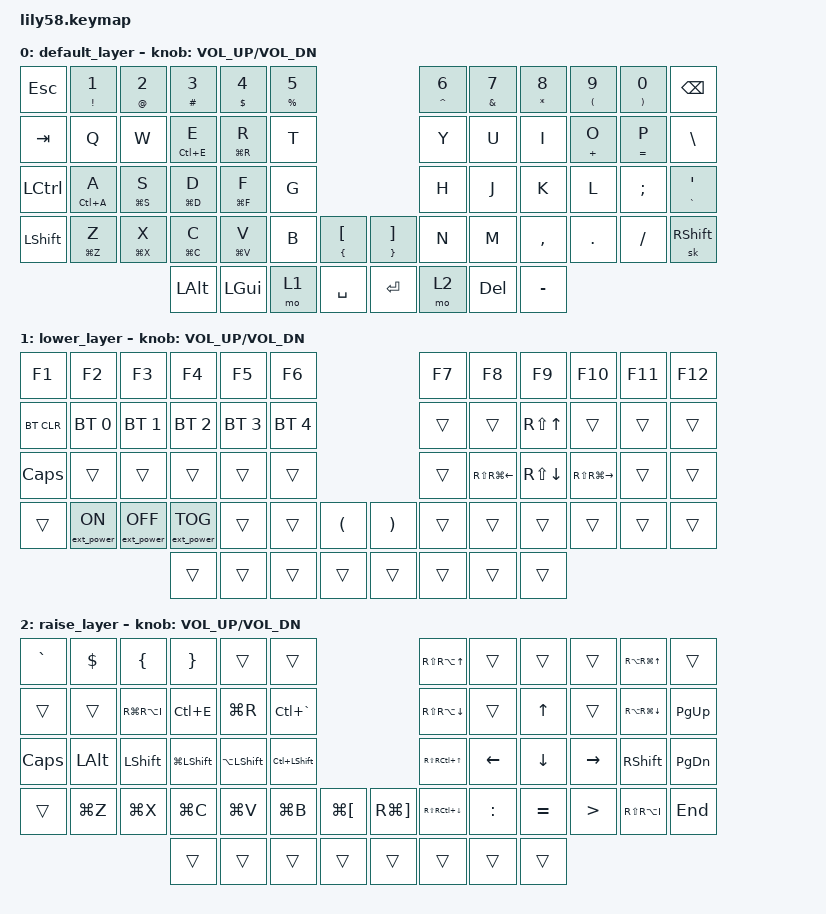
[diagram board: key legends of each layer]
/*
 * Copyright (c) 2020 The ZMK Contributors
 *
 * SPDX-License-Identifier: MIT
 */

#include <behaviors.dtsi>
#include <dt-bindings/zmk/keys.h>
#include <dt-bindings/zmk/bt.h>
#include <dt-bindings/zmk/ext_power.h>

#define DEFAULT 0
#define LOWER 1
#define RAISE 2

// custom config for mod-taps
&mt {
    tapping-term-ms = <300>;
		flavor = "tap-preferred";
};

/ {
	keymap {
		compatible = "zmk,keymap";

		default_layer {
// ---------------------------------------------------------------------------------------------------------------------------------
// |   ESC |   ! 1    |   @ 2    |   # 3    |   $ 4    |  % 5  |                   | ^ 6   | & 7   | * 8   |  ( 9 |  ) 0  |  BSPC  |
// |   TAB |     Q    |    W     |  CTRL+E E|  CMD+R R |  T    |                   |  Y    |  U    |  I    |  + O |  = P  |   \    |
// |  CTRL | CTRL+A A |  CMD+S S |  CMD+D D |  CMD+F F |  G    |                   |  H    |  J    |  K    |   L  |   ;   |  ` '   |
// | SHIFT | CMD+Z Z  |  CMD+X X |  CMD+C C |  CMD+V V |  B    |   { [  |  |  ] }  |  N    |  M    |  ,    |   .  |   /   | SKSHFT |
//                               |   ALT    |  CMD     | LOWER |  SPACE |  | ENTER | RAISE |  DEL  |  -    |

			bindings = <
&kp ESC   &mt EXCL N1 &mt AT N2   &mt HASH N3 &mt DOLLAR N4 &mt PRCNT N5                         &mt CARET N6 &mt AMPS N7 &mt STAR N8 &mt LPAR N9 &mt RPAR N0 &kp BSPC
&kp TAB   &kp Q       &kp W       &mt LC(E) E &mt LG(R) R   &kp T                                &kp Y        &kp U       &kp I       &mt PLUS O  &mt EQUAL P &kp BSLH
&kp LCTRL &mt LC(A) A &mt LG(S) S &mt LG(D) D &mt LG(F) F   &kp G                                &kp H        &kp J       &kp K       &kp L       &kp SEMI    &mt GRAVE SQT
&kp LSHFT &mt LG(Z) Z &mt LG(X) X &mt LG(C) C &mt LG(V) V   &kp B  &mt LBRC LBKT  &mt RBRC RBKT  &kp N        &kp M       &kp COMMA   &kp DOT     &kp FSLH    &sk RSHFT
                                  &kp LALT    &kp LGUI      &mo 1  &kp SPACE      &kp RET        &mo 2        &kp DEL     &kp MINUS
			>;

			sensor-bindings = <&inc_dec_kp C_VOL_UP C_VOL_DN>;
		};

		lower_layer {
// ----------------------------------------------------------------------------------------------------------------------
// |  F1   |  F2 |  F3  |  F4  |  F5  |  F6  |                  |  F7    |  F8      |  F9     |  F10    |  F11  |  F12  |
// | BTCLR | BT1 | BT2  |  BT3 |  BT4 |  BT5 |                  |        |          |  SLCT ^ |         |       |       |
// |  CAPS |     |      |      |      |      |                  |        |  SLCT <- |  SLCT v | SLCT -> |       |       |
// |       | XON | XOFF | XTOG |      |      |   (   |  |   )   |        |          |         |         |       |       |
//                      |      |      |      |       |  |       |        |          |         |
			bindings = <
&kp F1     &kp F2           &kp F3            &kp F4            &kp F5       &kp F6                       &kp F7   &kp F8           &kp F9       &kp F10           &kp F11  &kp F12
&bt BT_CLR &bt BT_SEL 0     &bt BT_SEL 1      &bt BT_SEL 2      &bt BT_SEL 3 &bt BT_SEL 4                 &trans   &trans           &kp RS(UP)   &trans            &trans   &trans
&kp CAPS   &trans           &trans            &trans            &trans       &trans                       &trans   &kp RS(RG(LEFT)) &kp RS(DOWN) &kp RS(RG(RIGHT)) &trans   &trans
&trans     &ext_power EP_ON &ext_power EP_OFF &ext_power EP_TOG &trans       &trans    &kp LPAR &kp RPAR  &trans   &trans           &trans       &trans            &trans   &trans
                                              &trans            &trans       &trans    &trans   &trans    &trans   &trans           &trans
			>;

			sensor-bindings = <&inc_dec_kp C_VOL_UP C_VOL_DN>;
		};

		raise_layer {
// -----------------------------------------------------------------------------------------------------------------------------------------------
// |   `   |   $   |     {    |    }     |          |          |                      | COPY ^  |         |       |         | CURSOR_^    | HOME |
// |       |       | DEV TOOLS|  CTRL+E  | REFRESH  | TOG TERM |                      | COPY v  |         |   ^   |         | CURSOR_v    | PG ^ |
// | CAPS  | ALT   |   SHFT   | CMD+SHFT | ALT+SHFT | CTRL+SHFT|                      | MOVE ^  |    <-   |   v   |   ->    |  SHFT       | PG v |
// |       | CMD+Z |   CMD+X  |  CMD+C   |  CMD+V   |  CMD+B   | CMD+"[" |  | CMD+"]" | MOVE v  |    :    |   =   |    >    | END_CURSORS | END  |
//                            |          |          |          |         |  |         |         |         |       |
			bindings = <
&kp GRAVE &kp DOLLAR &kp LBRC      &kp RBRC      &trans        &trans                              &kp RS(RA(UP))   &trans    &trans    &trans    &kp RA(RG(UP))   &trans
&trans    &trans     &kp RG(RA(I)) &kp LC(E)     &kp LG(R)     &kp LC(GRAVE)                       &kp RS(RA(DOWN)) &trans    &kp UP    &trans    &kp RA(RG(DOWN)) &kp PAGE_UP
&kp CAPS  &kp LALT   &kp LSHFT     &kp LG(LSHFT) &kp LA(LSHFT) &kp LC(LSHFT)                       &kp RS(RC(UP))   &kp LEFT  &kp DOWN  &kp RIGHT &kp RSHFT        &kp PAGE_DOWN
&trans    &kp LG(Z)  &kp LG(X)     &kp LG(C)     &kp LG(V)     &kp LG(B) &kp LG(LBKT) &kp RG(RBKT) &kp RS(RC(DOWN)) &kp COLON &kp EQUAL &kp GT    &kp RS(RA(I))    &kp END
                                   &trans        &trans        &trans    &trans       &trans       &trans           &trans    &trans
			>;

			sensor-bindings = <&inc_dec_kp C_VOL_UP C_VOL_DN>;
		};
	};
};
